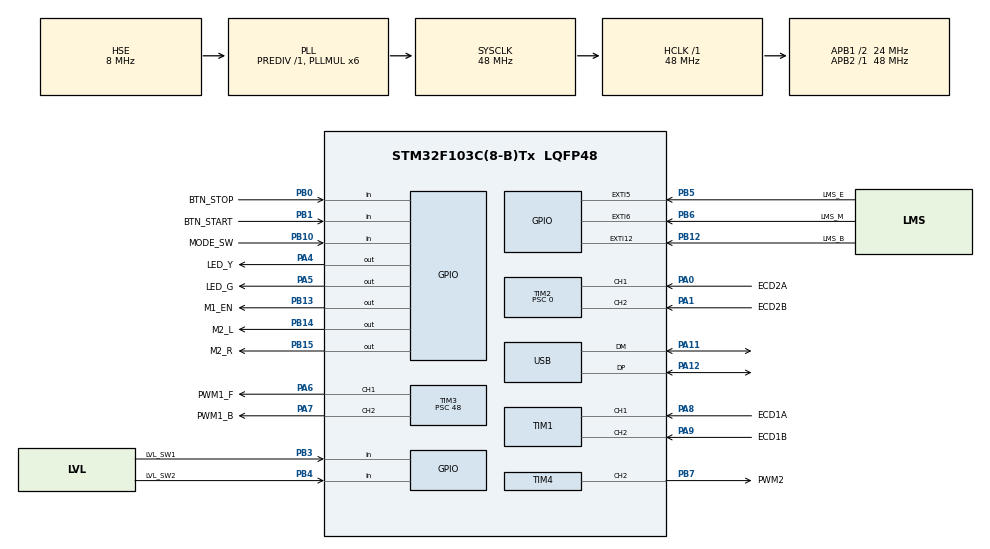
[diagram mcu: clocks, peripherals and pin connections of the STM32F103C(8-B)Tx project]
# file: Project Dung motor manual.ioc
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Mcu.Family=STM32F1
Mcu.Name=STM32F103C(8-B)Tx
Mcu.Package=LQFP48
NVIC.EXTI15_10_IRQn=true\:2\:0\:true\:false\:true\:true\:true\:true
NVIC.EXTI9_5_IRQn=true\:2\:0\:true\:false\:true\:true\:true\:true
NVIC.PriorityGroup=NVIC_PRIORITYGROUP_4
NVIC.TIM4_IRQn=true\:1\:0\:true\:false\:true\:true\:true\:true
NVIC.USB_LP_CAN1_RX0_IRQn=true\:0\:0\:false\:false\:true\:false\:true\:true
PA0-WKUP.GPIO_Label=ECD2A
PA0-WKUP.Signal=S_TIM2_CH1_ETR
PA1.GPIO_Label=ECD2B
PA1.Signal=S_TIM2_CH2
PA11.Mode=Device
PA11.Signal=USB_DM
PA12.Mode=Device
PA12.Signal=USB_DP
PA13.Mode=Serial_Wire
PA13.Signal=SYS_JTMS-SWDIO
PA14.Mode=Serial_Wire
PA14.Signal=SYS_JTCK-SWCLK
PA4.GPIO_Label=LED_Y
PA4.Signal=GPIO_Output
PA5.GPIO_Label=LED_G
PA5.Signal=GPIO_Output
PA6.GPIO_Label=PWM1_F
PA6.Signal=S_TIM3_CH1
PA7.GPIO_Label=PWM1_B
PA7.Signal=S_TIM3_CH2
PA8.GPIO_Label=ECD1A
PA8.Signal=S_TIM1_CH1
PA9.GPIO_Label=ECD1B
PA9.Signal=S_TIM1_CH2
PB0.GPIO_Label=BTN_STOP
PB0.GPIO_PuPd=GPIO_PULLUP
PB0.Signal=GPIO_Input
PB1.GPIO_Label=BTN_START
PB1.GPIO_PuPd=GPIO_PULLUP
PB1.Signal=GPIO_Input
PB10.GPIO_Label=MODE_SW
PB10.GPIO_PuPd=GPIO_PULLUP
PB10.Signal=GPIO_Input
PB12.GPIO_Label=LMS_B
PB12.GPIO_ModeDefaultEXTI=GPIO_MODE_IT_RISING_FALLING
PB12.GPIO_PuPd=GPIO_PULLUP
PB12.Signal=GPXTI12
PB13.GPIO_Label=M1_EN
PB13.Signal=GPIO_Output
PB14.GPIO_Label=M2_L
PB14.Signal=GPIO_Output
PB15.GPIO_Label=M2_R
PB15.Signal=GPIO_Output
PB3.GPIO_Label=LVL_SW1
PB3.GPIO_PuPd=GPIO_PULLUP
PB3.Signal=GPIO_Input
PB4.GPIO_Label=LVL_SW2
PB4.GPIO_PuPd=GPIO_PULLUP
PB4.Signal=GPIO_Input
PB5.GPIO_Label=LMS_E
PB5.GPIO_ModeDefaultEXTI=GPIO_MODE_IT_RISING_FALLING
PB5.GPIO_PuPd=GPIO_PULLUP
PB5.Signal=GPXTI5
PB6.GPIO_Label=LMS_M
PB6.GPIO_ModeDefaultEXTI=GPIO_MODE_IT_RISING_FALLING
PB6.GPIO_PuPd=GPIO_PULLUP
PB6.Signal=GPXTI6
PB7.GPIO_Label=PWM2
PB7.Signal=S_TIM4_CH2
PD0-OSC_IN.GPIO_Label=OSC1
PD0-OSC_IN.Mode=HSE-External-Oscillator
PD0-OSC_IN.Signal=RCC_OSC_IN
PD1-OSC_OUT.GPIO_Label=OSC2
PD1-OSC_OUT.Mode=HSE-External-Oscillator
PD1-OSC_OUT.Signal=RCC_OSC_OUT
ProjectManager.HeapSize=0x200
ProjectManager.StackSize=0x400
ProjectManager.TargetToolchain=STM32CubeIDE
RCC.ADCPresc=RCC_ADCPCLK2_DIV4
RCC.AHBFreq_Value=48000000
RCC.APB1CLKDivider=RCC_HCLK_DIV2
RCC.APB1Freq_Value=24000000
RCC.APB1TimFreq_Value=48000000
RCC.APB2Freq_Value=48000000
RCC.APB2TimFreq_Value=48000000
RCC.HCLKFreq_Value=48000000
RCC.PLLMUL=RCC_PLL_MUL6
RCC.SYSCLKFreq_VALUE=48000000
RCC.SYSCLKSource=RCC_SYSCLKSOURCE_PLLCLK
RCC.USBFreq_Value=48000000
SH.S_TIM1_CH1.0=TIM1_CH1,Encoder_Interface
SH.S_TIM1_CH2.0=TIM1_CH2,Encoder_Interface
SH.S_TIM2_CH1_ETR.0=TIM2_CH1,Encoder_Interface
SH.S_TIM2_CH2.0=TIM2_CH2,Encoder_Interface
SH.S_TIM3_CH1.0=TIM3_CH1,PWM Generation1 CH1
SH.S_TIM3_CH2.0=TIM3_CH2,PWM Generation2 CH2
SH.S_TIM4_CH2.0=TIM4_CH2,PWM Generation2 CH2
TIM1.AutoReloadPreload=TIM_AUTORELOAD_PRELOAD_ENABLE
TIM1.EncoderMode=TIM_ENCODERMODE_TI12
TIM1.IC1Filter=10
TIM1.IC2Filter=10
TIM2.AutoReloadPreload=TIM_AUTORELOAD_PRELOAD_ENABLE
TIM2.EncoderMode=TIM_ENCODERMODE_TI12
TIM2.IC1Filter=10
TIM2.IC2Filter=10
TIM2.Period=65535
TIM2.Prescaler=0
TIM3.AutoReloadPreload=TIM_AUTORELOAD_PRELOAD_ENABLE
TIM3.Channel-PWM\ Generation1\ CH1=TIM_CHANNEL_1
TIM3.Channel-PWM\ Generation2\ CH2=TIM_CHANNEL_2
TIM3.Period=499
TIM3.Prescaler=48
TIM4.AutoReloadPreload=TIM_AUTORELOAD_PRELOAD_ENABLE
TIM4.Channel-PWM\ Generation2\ CH2=TIM_CHANNEL_2
TIM4.Period=999
TIM4.Prescaler=48
USB_DEVICE.APP_RX_DATA_SIZE=64
USB_DEVICE.APP_TX_DATA_SIZE=64
USB_DEVICE.CLASS_NAME_FS=CDC
USB_DEVICE.VirtualMode=Cdc
USB_DEVICE.VirtualModeFS=Cdc_FS
VP_USB_DEVICE_VS_USB_DEVICE_CDC_FS.Mode=CDC_FS
board=custom

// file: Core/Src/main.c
/* USER CODE BEGIN Header */
/**
 ******************************************************************************
 * @file           : main.c (FINAL FINAL)
 * @brief          : Main program body
 ******************************************************************************
 * @attention
 *
 * Copyright (c) 2022 STMicroelectronics.
 * All rights reserved.
 *
 * This software is licensed under terms that can be found in the LICENSE file
 * in the root directory of this software component.
 * If no LICENSE file comes with this software, it is provided AS-IS.
 *
 ******************************************************************************
 */
/* USER CODE END Header */
#include "main.h"
#include "usb_device.h"

/* USER CODE BEGIN Includes */
#include "user_func.h"
/* USER CODE END Includes */

TIM_HandleTypeDef htim1;
TIM_HandleTypeDef htim2;
TIM_HandleTypeDef htim3;
TIM_HandleTypeDef htim4;

void SystemClock_Config(void);
static void MX_GPIO_Init(void);
static void MX_TIM1_Init(void);
static void MX_TIM2_Init(void);
static void MX_TIM3_Init(void);
static void MX_TIM4_Init(void);

/* USER CODE BEGIN 0 */
Button BTN_START, BTN_STOP, MODE;
u8 state = 0;
u32 now_E1 = 0, now_E2 = 0;

bool END_REACH, BEGIN_REACH, MID_REACH;
u8 btnStartState = 0, btnStopState = 0;
/* USER CODE END 0 */

int main(void)
{

  /* MCU Configuration--------------------------------------------------------*/

  /* Reset of all peripherals, Initializes the Flash interface and the Systick. */
  HAL_Init();

  /* Configure the system clock */
  SystemClock_Config();

  /* Initialize all configured peripherals */
  MX_GPIO_Init();
  MX_TIM1_Init();
  MX_TIM2_Init();
  MX_TIM3_Init();
  MX_TIM4_Init();
  MX_USB_DEVICE_Init();
  /* USER CODE BEGIN 2 */
  buttonInit(&BTN_START, BTN_START_GPIO_Port, BTN_START_Pin);
  buttonInit(&BTN_STOP, BTN_STOP_GPIO_Port, BTN_STOP_Pin);

  buttonInit(&MODE, MODE_SW_GPIO_Port, MODE_SW_Pin);

  // For encoders
  HAL_TIM_Encoder_Start(&htim1, TIM_CHANNEL_ALL);
  HAL_TIM_Encoder_Start(&htim2, TIM_CHANNEL_ALL);

  // For PWM
  HAL_TIM_PWM_Start(&htim4, TIM_CHANNEL_2);
  HAL_TIM_PWM_Start(&htim3, TIM_CHANNEL_1);
  HAL_TIM_PWM_Start(&htim3, TIM_CHANNEL_2);

  startup();
  MODE.hasChanged = true;
  /* USER CODE END 2 */

  /* Infinite loop */
  while (1) {

    /* USER CODE BEGIN 3 */
	state = buttonRead(&MODE);
	if (MODE.hasChanged) {
	  switch (state) {
	  case BTN_SET:	// NC 1
		// Active IDLE
		lightLED(1, 0);
		break;
	  case BTN_RESET: // Active 0
		lightLED(0, 1);
		break;
	  }
	  MODE.hasChanged = true;
	}

	btnStartState = buttonRead(&BTN_START);
	btnStopState = buttonRead(&BTN_STOP);
	switch (state) {
	case BTN_SET:	// IDLE MODE
	  if (btnStartState == btnStopState) {
		;

	  } else if (btnStartState == BTN_RESET) {
		returnHome();
	  }
	  break;
	case BTN_RESET:	// RUN MODE
	  break;
	}
  }

  /* USER CODE END 3 */
}

void SystemClock_Config(void)
{
  RCC_OscInitTypeDef RCC_OscInitStruct = {0};
  RCC_ClkInitTypeDef RCC_ClkInitStruct = {0};
  RCC_PeriphCLKInitTypeDef PeriphClkInit = {0};

  /** Initializes the RCC Oscillators according to the specified parameters
  * in the RCC_OscInitTypeDef structure.
  */
  RCC_OscInitStruct.OscillatorType = RCC_OSCILLATORTYPE_HSE;
  RCC_OscInitStruct.HSEState = RCC_HSE_ON;
  RCC_OscInitStruct.HSEPredivValue = RCC_HSE_PREDIV_DIV1;
  RCC_OscInitStruct.HSIState = RCC_HSI_ON;
  RCC_OscInitStruct.PLL.PLLState = RCC_PLL_ON;
  RCC_OscInitStruct.PLL.PLLSource = RCC_PLLSOURCE_HSE;
  RCC_OscInitStruct.PLL.PLLMUL = RCC_PLL_MUL6;
  if (HAL_RCC_OscConfig(&RCC_OscInitStruct) != HAL_OK)
  {
    Error_Handler();
  }

  /** Initializes the CPU, AHB and APB buses clocks
  */
  RCC_ClkInitStruct.ClockType = RCC_CLOCKTYPE_HCLK|RCC_CLOCKTYPE_SYSCLK
                              |RCC_CLOCKTYPE_PCLK1|RCC_CLOCKTYPE_PCLK2;
  RCC_ClkInitStruct.SYSCLKSource = RCC_SYSCLKSOURCE_PLLCLK;
  RCC_ClkInitStruct.AHBCLKDivider = RCC_SYSCLK_DIV1;
  RCC_ClkInitStruct.APB1CLKDivider = RCC_HCLK_DIV2;
  RCC_ClkInitStruct.APB2CLKDivider = RCC_HCLK_DIV1;

  if (HAL_RCC_ClockConfig(&RCC_ClkInitStruct, FLASH_LATENCY_1) != HAL_OK)
  {
    Error_Handler();
  }
  PeriphClkInit.PeriphClockSelection = RCC_PERIPHCLK_USB;
  PeriphClkInit.UsbClockSelection = RCC_USBCLKSOURCE_PLL;
  if (HAL_RCCEx_PeriphCLKConfig(&PeriphClkInit) != HAL_OK)
  {
    Error_Handler();
  }
}

static void MX_TIM1_Init(void)
{

  TIM_Encoder_InitTypeDef sConfig = {0};
  TIM_MasterConfigTypeDef sMasterConfig = {0};

  htim1.Instance = TIM1;
  htim1.Init.Prescaler = 0;
  htim1.Init.CounterMode = TIM_COUNTERMODE_UP;
  htim1.Init.Period = 65535;
  htim1.Init.ClockDivision = TIM_CLOCKDIVISION_DIV1;
  htim1.Init.RepetitionCounter = 0;
  htim1.Init.AutoReloadPreload = TIM_AUTORELOAD_PRELOAD_ENABLE;
  sConfig.EncoderMode = TIM_ENCODERMODE_TI12;
  sConfig.IC1Polarity = TIM_ICPOLARITY_RISING;
  sConfig.IC1Selection = TIM_ICSELECTION_DIRECTTI;
  sConfig.IC1Prescaler = TIM_ICPSC_DIV1;
  sConfig.IC1Filter = 10;
  sConfig.IC2Polarity = TIM_ICPOLARITY_RISING;
  sConfig.IC2Selection = TIM_ICSELECTION_DIRECTTI;
  sConfig.IC2Prescaler = TIM_ICPSC_DIV1;
  sConfig.IC2Filter = 10;
  if (HAL_TIM_Encoder_Init(&htim1, &sConfig) != HAL_OK)
  {
    Error_Handler();
  }
  sMasterConfig.MasterOutputTrigger = TIM_TRGO_RESET;
  sMasterConfig.MasterSlaveMode = TIM_MASTERSLAVEMODE_DISABLE;
  if (HAL_TIMEx_MasterConfigSynchronization(&htim1, &sMasterConfig) != HAL_OK)
  {
    Error_Handler();
  }

}

static void MX_TIM2_Init(void)
{

  TIM_Encoder_InitTypeDef sConfig = {0};
  TIM_MasterConfigTypeDef sMasterConfig = {0};

  htim2.Instance = TIM2;
  htim2.Init.Prescaler = 0;
  htim2.Init.CounterMode = TIM_COUNTERMODE_UP;
  htim2.Init.Period = 65535;
  htim2.Init.ClockDivision = TIM_CLOCKDIVISION_DIV1;
  htim2.Init.AutoReloadPreload = TIM_AUTORELOAD_PRELOAD_ENABLE;
  sConfig.EncoderMode = TIM_ENCODERMODE_TI12;
  sConfig.IC1Polarity = TIM_ICPOLARITY_RISING;
  sConfig.IC1Selection = TIM_ICSELECTION_DIRECTTI;
  sConfig.IC1Prescaler = TIM_ICPSC_DIV1;
  sConfig.IC1Filter = 10;
  sConfig.IC2Polarity = TIM_ICPOLARITY_RISING;
  sConfig.IC2Selection = TIM_ICSELECTION_DIRECTTI;
  sConfig.IC2Prescaler = TIM_ICPSC_DIV1;
  sConfig.IC2Filter = 10;
  if (HAL_TIM_Encoder_Init(&htim2, &sConfig) != HAL_OK)
  {
    Error_Handler();
  }
  sMasterConfig.MasterOutputTrigger = TIM_TRGO_RESET;
  sMasterConfig.MasterSlaveMode = TIM_MASTERSLAVEMODE_DISABLE;
  if (HAL_TIMEx_MasterConfigSynchronization(&htim2, &sMasterConfig) != HAL_OK)
  {
    Error_Handler();
  }

}

static void MX_TIM3_Init(void)
{

  TIM_MasterConfigTypeDef sMasterConfig = {0};
  TIM_OC_InitTypeDef sConfigOC = {0};

  htim3.Instance = TIM3;
  htim3.Init.Prescaler = 48;
  htim3.Init.CounterMode = TIM_COUNTERMODE_UP;
  htim3.Init.Period = 499;
  htim3.Init.ClockDivision = TIM_CLOCKDIVISION_DIV1;
  htim3.Init.AutoReloadPreload = TIM_AUTORELOAD_PRELOAD_ENABLE;
  if (HAL_TIM_PWM_Init(&htim3) != HAL_OK)
  {
    Error_Handler();
  }
  sMasterConfig.MasterOutputTrigger = TIM_TRGO_RESET;
  sMasterConfig.MasterSlaveMode = TIM_MASTERSLAVEMODE_DISABLE;
  if (HAL_TIMEx_MasterConfigSynchronization(&htim3, &sMasterConfig) != HAL_OK)
  {
    Error_Handler();
  }
  sConfigOC.OCMode = TIM_OCMODE_PWM1;
  sConfigOC.Pulse = 0;
  sConfigOC.OCPolarity = TIM_OCPOLARITY_HIGH;
  sConfigOC.OCFastMode = TIM_OCFAST_DISABLE;
  if (HAL_TIM_PWM_ConfigChannel(&htim3, &sConfigOC, TIM_CHANNEL_1) != HAL_OK)
  {
    Error_Handler();
  }
  if (HAL_TIM_PWM_ConfigChannel(&htim3, &sConfigOC, TIM_CHANNEL_2) != HAL_OK)
  {
    Error_Handler();
  }
  HAL_TIM_MspPostInit(&htim3);

}

static void MX_TIM4_Init(void)
{

  TIM_MasterConfigTypeDef sMasterConfig = {0};
  TIM_OC_InitTypeDef sConfigOC = {0};

  htim4.Instance = TIM4;
  htim4.Init.Prescaler = 48;
  htim4.Init.CounterMode = TIM_COUNTERMODE_UP;
  htim4.Init.Period = 999;
  htim4.Init.ClockDivision = TIM_CLOCKDIVISION_DIV1;
  htim4.Init.AutoReloadPreload = TIM_AUTORELOAD_PRELOAD_ENABLE;
  if (HAL_TIM_PWM_Init(&htim4) != HAL_OK)
  {
    Error_Handler();
  }
  sMasterConfig.MasterOutputTrigger = TIM_TRGO_RESET;
  sMasterConfig.MasterSlaveMode = TIM_MASTERSLAVEMODE_DISABLE;
  if (HAL_TIMEx_MasterConfigSynchronization(&htim4, &sMasterConfig) != HAL_OK)
  {
    Error_Handler();
  }
  sConfigOC.OCMode = TIM_OCMODE_PWM1;
  sConfigOC.Pulse = 0;
  sConfigOC.OCPolarity = TIM_OCPOLARITY_HIGH;
  sConfigOC.OCFastMode = TIM_OCFAST_DISABLE;
  if (HAL_TIM_PWM_ConfigChannel(&htim4, &sConfigOC, TIM_CHANNEL_2) != HAL_OK)
  {
    Error_Handler();
  }
  HAL_TIM_MspPostInit(&htim4);

}

static void MX_GPIO_Init(void)
{
  GPIO_InitTypeDef GPIO_InitStruct = {0};

  /* GPIO Ports Clock Enable */
  __HAL_RCC_GPIOC_CLK_ENABLE();
  __HAL_RCC_GPIOD_CLK_ENABLE();
  __HAL_RCC_GPIOA_CLK_ENABLE();
  __HAL_RCC_GPIOB_CLK_ENABLE();

  /*Configure GPIO pin Output Level */
  HAL_GPIO_WritePin(GPIOA, LED_Y_Pin|LED_G_Pin, GPIO_PIN_RESET);

  /*Configure GPIO pin Output Level */
  HAL_GPIO_WritePin(GPIOB, M1_EN_Pin|M2_L_Pin|M2_R_Pin, GPIO_PIN_RESET);

  /*Configure GPIO pins : PC13 PC14 PC15 */
  GPIO_InitStruct.Pin = GPIO_PIN_13|GPIO_PIN_14|GPIO_PIN_15;
  GPIO_InitStruct.Mode = GPIO_MODE_ANALOG;
  HAL_GPIO_Init(GPIOC, &GPIO_InitStruct);

  /*Configure GPIO pins : PA2 PA3 PA10 PA15 */
  GPIO_InitStruct.Pin = GPIO_PIN_2|GPIO_PIN_3|GPIO_PIN_10|GPIO_PIN_15;
  GPIO_InitStruct.Mode = GPIO_MODE_ANALOG;
  HAL_GPIO_Init(GPIOA, &GPIO_InitStruct);

  /*Configure GPIO pins : LED_Y_Pin LED_G_Pin */
  GPIO_InitStruct.Pin = LED_Y_Pin|LED_G_Pin;
  GPIO_InitStruct.Mode = GPIO_MODE_OUTPUT_PP;
  GPIO_InitStruct.Pull = GPIO_NOPULL;
  GPIO_InitStruct.Speed = GPIO_SPEED_FREQ_LOW;
  HAL_GPIO_Init(GPIOA, &GPIO_InitStruct);

  /*Configure GPIO pins : BTN_STOP_Pin BTN_START_Pin MODE_SW_Pin LVL_SW1_Pin
                           LVL_SW2_Pin */
  GPIO_InitStruct.Pin = BTN_STOP_Pin|BTN_START_Pin|MODE_SW_Pin|LVL_SW1_Pin
                          |LVL_SW2_Pin;
  GPIO_InitStruct.Mode = GPIO_MODE_INPUT;
  GPIO_InitStruct.Pull = GPIO_PULLUP;
  HAL_GPIO_Init(GPIOB, &GPIO_InitStruct);

  /*Configure GPIO pins : PB2 PB11 PB8 PB9 */
  GPIO_InitStruct.Pin = GPIO_PIN_2|GPIO_PIN_11|GPIO_PIN_8|GPIO_PIN_9;
  GPIO_InitStruct.Mode = GPIO_MODE_ANALOG;
  HAL_GPIO_Init(GPIOB, &GPIO_InitStruct);

  /*Configure GPIO pins : LMS_B_Pin LMS_E_Pin LMS_M_Pin */
  GPIO_InitStruct.Pin = LMS_B_Pin|LMS_E_Pin|LMS_M_Pin;
  GPIO_InitStruct.Mode = GPIO_MODE_IT_RISING_FALLING;
  GPIO_InitStruct.Pull = GPIO_PULLUP;
  HAL_GPIO_Init(GPIOB, &GPIO_InitStruct);

  /*Configure GPIO pins : M1_EN_Pin M2_L_Pin M2_R_Pin */
  GPIO_InitStruct.Pin = M1_EN_Pin|M2_L_Pin|M2_R_Pin;
  GPIO_InitStruct.Mode = GPIO_MODE_OUTPUT_PP;
  GPIO_InitStruct.Pull = GPIO_NOPULL;
  GPIO_InitStruct.Speed = GPIO_SPEED_FREQ_LOW;
  HAL_GPIO_Init(GPIOB, &GPIO_InitStruct);

  /* EXTI interrupt init*/
  HAL_NVIC_SetPriority(EXTI9_5_IRQn, 2, 0);
  HAL_NVIC_EnableIRQ(EXTI9_5_IRQn);

  HAL_NVIC_SetPriority(EXTI15_10_IRQn, 2, 0);
  HAL_NVIC_EnableIRQ(EXTI15_10_IRQn);

}

void Error_Handler(void)
{
  __disable_irq();
  while (1) {
  }
}
